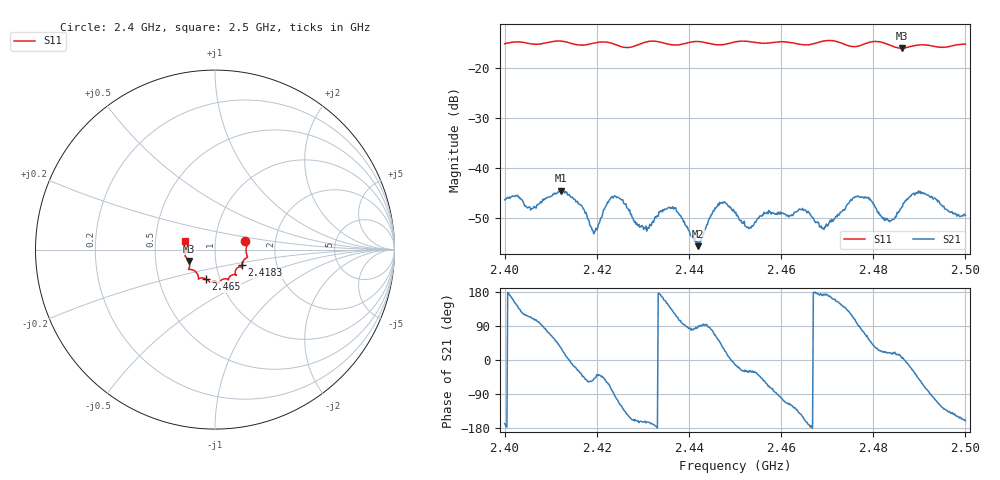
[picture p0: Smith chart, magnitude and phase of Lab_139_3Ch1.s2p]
# Hz S RI R 50
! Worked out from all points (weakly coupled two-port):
!   601 points, 2.4 GHz to 2.5 GHz, reference 50 ohm
!   highest |S21| = -44.55 dB at 2.4122 GHz (marker M1); lowest = -55.7 dB at 2.442 GHz (marker M2)
!   lowest |S11| = -16.0 dB at 2.4862 GHz (marker M3), VSWR 1.38, Z = 37.1 - j4.82 ohm
!   |S11| at or under -10 dB: start of sweep to end of sweep
!   S12 and S22 are empty: the file has one direction only
!   S11 on the Smith chart (normalised r, x): 2.4 GHz: 1.40, +0.13; 2.4183 GHz: 1.33, -0.24; 2.465 GHz: 0.86, -0.29; 2.5 GHz: 0.71, +0.07
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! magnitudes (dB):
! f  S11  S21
! 2.4 GHz  -15.1  -46.4
! 2.4062 GHz  -15.2  -48.1
! 2.4122 GHz  -14.6  -44.6
! 2.4167 GHz  -15.4  -47.5
! 2.4183 GHz  -15.2  -50.7
! 2.4197 GHz  -15.0  -52.6
! 2.4237 GHz  -15.2  -45.8
! 2.4298 GHz  -15.1  -51.6
! 2.4333 GHz  -14.7  -49.7
! 2.437 GHz  -15.4  -47.9
! 2.442 GHz  -14.7  -55.7
! 2.4465 GHz  -15.4  -47.5
! 2.45 GHz  -14.8  -49.0
! 2.453 GHz  -14.7  -52.2
! 2.465 GHz  -15.4  -48.5
! 2.4667 GHz  -15.2  -49.8
! 2.4697 GHz  -14.5  -51.8
! 2.4765 GHz  -15.7  -45.8
! 2.4833 GHz  -15.3  -50.6
! 2.4862 GHz  -16.0  -47.8
! 2.4903 GHz  -15.4  -45.2
! 2.5 GHz  -15.2  -49.6
